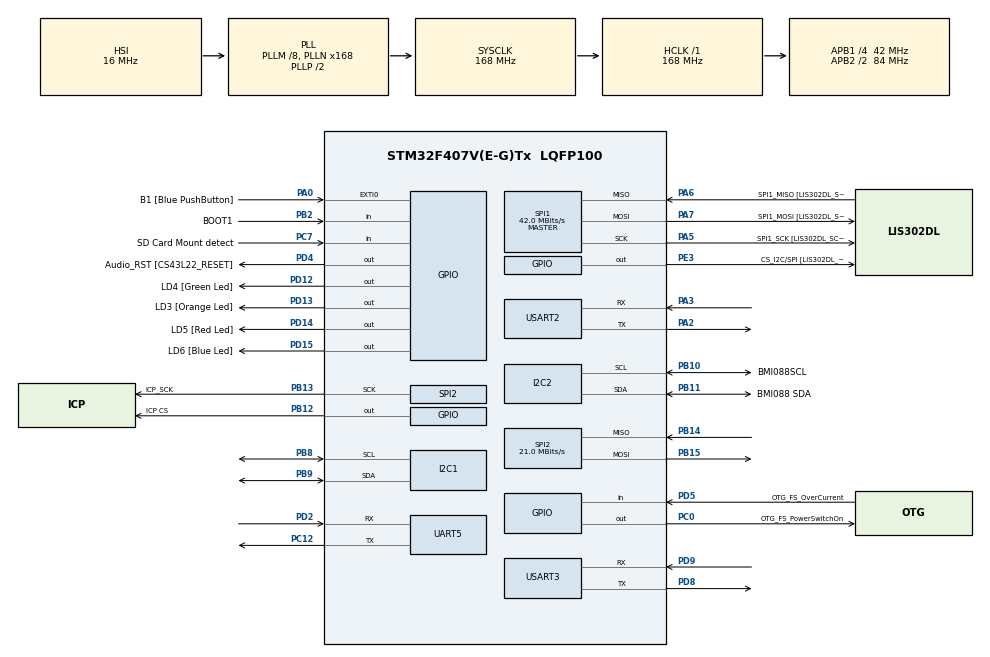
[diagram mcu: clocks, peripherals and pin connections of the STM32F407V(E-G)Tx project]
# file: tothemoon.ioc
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Dma.Request0=SPI2_RX
Dma.Request1=SPI2_TX
Dma.Request2=UART5_RX
Dma.Request3=UART5_TX
Dma.SPI2_RX.0.Direction=DMA_PERIPH_TO_MEMORY
Dma.SPI2_RX.0.FIFOMode=DMA_FIFOMODE_DISABLE
Dma.SPI2_RX.0.Instance=DMA1_Stream3
Dma.SPI2_RX.0.MemDataAlignment=DMA_MDATAALIGN_BYTE
Dma.SPI2_RX.0.MemInc=DMA_MINC_ENABLE
Dma.SPI2_RX.0.Mode=DMA_NORMAL
Dma.SPI2_RX.0.PeriphDataAlignment=DMA_PDATAALIGN_BYTE
Dma.SPI2_RX.0.PeriphInc=DMA_PINC_DISABLE
Dma.SPI2_RX.0.Priority=DMA_PRIORITY_LOW
Dma.SPI2_TX.1.Direction=DMA_MEMORY_TO_PERIPH
Dma.SPI2_TX.1.FIFOMode=DMA_FIFOMODE_DISABLE
Dma.SPI2_TX.1.Instance=DMA1_Stream4
Dma.SPI2_TX.1.MemDataAlignment=DMA_MDATAALIGN_BYTE
Dma.SPI2_TX.1.MemInc=DMA_MINC_ENABLE
Dma.SPI2_TX.1.Mode=DMA_NORMAL
Dma.SPI2_TX.1.PeriphDataAlignment=DMA_PDATAALIGN_BYTE
Dma.SPI2_TX.1.PeriphInc=DMA_PINC_DISABLE
Dma.SPI2_TX.1.Priority=DMA_PRIORITY_LOW
Dma.UART5_RX.2.Direction=DMA_PERIPH_TO_MEMORY
Dma.UART5_RX.2.FIFOMode=DMA_FIFOMODE_DISABLE
Dma.UART5_RX.2.Instance=DMA1_Stream0
Dma.UART5_RX.2.MemDataAlignment=DMA_MDATAALIGN_BYTE
Dma.UART5_RX.2.MemInc=DMA_MINC_ENABLE
Dma.UART5_RX.2.Mode=DMA_NORMAL
Dma.UART5_RX.2.PeriphDataAlignment=DMA_PDATAALIGN_BYTE
Dma.UART5_RX.2.PeriphInc=DMA_PINC_DISABLE
Dma.UART5_RX.2.Priority=DMA_PRIORITY_LOW
Dma.UART5_TX.3.Direction=DMA_MEMORY_TO_PERIPH
Dma.UART5_TX.3.FIFOMode=DMA_FIFOMODE_DISABLE
Dma.UART5_TX.3.Instance=DMA1_Stream7
Dma.UART5_TX.3.MemDataAlignment=DMA_MDATAALIGN_BYTE
Dma.UART5_TX.3.MemInc=DMA_MINC_ENABLE
Dma.UART5_TX.3.Mode=DMA_NORMAL
Dma.UART5_TX.3.PeriphDataAlignment=DMA_PDATAALIGN_BYTE
Dma.UART5_TX.3.PeriphInc=DMA_PINC_DISABLE
Dma.UART5_TX.3.Priority=DMA_PRIORITY_LOW
Mcu.Family=STM32F4
Mcu.Name=STM32F407V(E-G)Tx
Mcu.Package=LQFP100
NVIC.DMA1_Stream0_IRQn=true\:6\:0\:true\:false\:true\:false\:true\:true
NVIC.DMA1_Stream3_IRQn=true\:6\:0\:true\:false\:true\:false\:true\:true
NVIC.DMA1_Stream4_IRQn=true\:6\:0\:true\:false\:true\:false\:true\:true
NVIC.DMA1_Stream7_IRQn=true\:6\:0\:true\:false\:true\:false\:true\:true
NVIC.PriorityGroup=NVIC_PRIORITYGROUP_4
NVIC.TIM6_DAC_IRQn=true\:15\:0\:false\:false\:true\:false\:true\:true
NVIC.TimeBase=TIM6_DAC_IRQn
NVIC.TimeBaseIP=TIM6
NVIC.UART5_IRQn=true\:6\:0\:true\:false\:true\:true\:true\:true
PA0-WKUP.GPIO_Label=B1 [Blue PushButton]
PA0-WKUP.Signal=GPXTI0
PA10.GPIO_Label=OTG_FS_ID
PA10.GPIO_Mode=GPIO_MODE_AF_PP
PA10.GPIO_PuPd=GPIO_NOPULL
PA10.GPIO_Speed=GPIO_SPEED_FREQ_LOW
PA10.Signal=USB_OTG_FS_ID
PA11.GPIO_Label=OTG_FS_DM
PA11.GPIO_Mode=GPIO_MODE_AF_PP
PA11.GPIO_PuPd=GPIO_NOPULL
PA11.GPIO_Speed=GPIO_SPEED_FREQ_LOW
PA11.Signal=USB_OTG_FS_DM
PA12.GPIO_Label=OTG_FS_DP
PA12.GPIO_Mode=GPIO_MODE_AF_PP
PA12.GPIO_PuPd=GPIO_NOPULL
PA12.GPIO_Speed=GPIO_SPEED_FREQ_LOW
PA12.Signal=USB_OTG_FS_DP
PA13.GPIO_Label=SWDIO
PA13.Mode=Trace_Asynchronous_SW
PA13.Signal=SYS_JTMS-SWDIO
PA14.GPIO_Label=SWCLK
PA14.Mode=Trace_Asynchronous_SW
PA14.Signal=SYS_JTCK-SWCLK
PA2.Mode=Asynchronous
PA2.Signal=USART2_TX
PA3.Mode=Asynchronous
PA3.Signal=USART2_RX
PA4.GPIO_Label=I2S3_WS [CS43L22_LRCK]
PA4.GPIO_Mode=GPIO_MODE_AF_PP
PA4.GPIO_PuPd=GPIO_NOPULL
PA4.GPIO_Speed=GPIO_SPEED_FREQ_LOW
PA4.Signal=I2S3_WS
PA5.GPIO_Label=SPI1_SCK [LIS302DL_SCL/SPC]
PA5.GPIO_Mode=GPIO_MODE_AF_PP
PA5.GPIO_PuPd=GPIO_NOPULL
PA5.GPIO_Speed=GPIO_SPEED_FREQ_LOW
PA5.Mode=Full_Duplex_Master
PA5.Signal=SPI1_SCK
PA6.GPIO_Label=SPI1_MISO [LIS302DL_SDO]
PA6.GPIO_Mode=GPIO_MODE_AF_PP
PA6.GPIO_PuPd=GPIO_NOPULL
PA6.GPIO_Speed=GPIO_SPEED_FREQ_LOW
PA6.Mode=Full_Duplex_Master
PA6.Signal=SPI1_MISO
PA7.GPIO_Label=SPI1_MOSI [LIS302DL_SDA/SDI/SDO]
PA7.GPIO_Mode=GPIO_MODE_AF_PP
PA7.GPIO_PuPd=GPIO_NOPULL
PA7.GPIO_Speed=GPIO_SPEED_FREQ_LOW
PA7.Mode=Full_Duplex_Master
PA7.Signal=SPI1_MOSI
PA9.GPIO_Label=VBUS_FS
PA9.GPIO_Mode=GPIO_MODE_INPUT
PA9.GPIO_PuPd=GPIO_NOPULL
PA9.Signal=USB_OTG_FS_VBUS
PB10.GPIO_Label=BMI088SCL
PB10.Mode=I2C
PB10.Signal=I2C2_SCL
PB11.GPIO_Label=BMI088 SDA
PB11.Mode=I2C
PB11.Signal=I2C2_SDA
PB12.GPIO_Label=ICP CS
PB12.Signal=GPIO_Output
PB13.GPIO_Label=ICP_SCK
PB13.Mode=Full_Duplex_Master
PB13.Signal=SPI2_SCK
PB14.Mode=Full_Duplex_Master
PB14.Signal=SPI2_MISO
PB15.Mode=Full_Duplex_Master
PB15.Signal=SPI2_MOSI
PB2.GPIO_Label=BOOT1
PB2.GPIO_Mode=GPIO_MODE_INPUT
PB2.GPIO_PuPd=GPIO_NOPULL
PB2.Signal=GPIO_Input
PB3.GPIO_Label=SWO
PB3.Mode=Trace_Asynchronous_SW
PB3.Signal=SYS_JTDO-SWO
PB6.Signal=USART1_TX
PB7.GPIO_PuPd=GPIO_PULLUP
PB7.Signal=USART1_RX
PB8.Mode=I2C
PB8.Signal=I2C1_SCL
PB9.Mode=I2C
PB9.Signal=I2C1_SDA
PC0.GPIO_Label=OTG_FS_PowerSwitchOn
PC0.GPIO_PuPd=GPIO_NOPULL
PC0.GPIO_Speed=GPIO_SPEED_FREQ_LOW
PC0.PinState=GPIO_PIN_SET
PC0.Signal=GPIO_Output
PC12.Mode=Asynchronous
PC12.Signal=UART5_TX
PC14-OSC32_IN.GPIO_Label=PC14-OSC32_IN
PC14-OSC32_IN.Signal=RCC_OSC32_IN
PC15-OSC32_OUT.GPIO_Label=PC15-OSC32_OUT
PC15-OSC32_OUT.Signal=RCC_OSC32_OUT
PC3.GPIO_Label=PDM_OUT [MP45DT02_DOUT]
PC3.GPIO_Mode=GPIO_MODE_AF_PP
PC3.GPIO_PuPd=GPIO_NOPULL
PC3.GPIO_Speed=GPIO_SPEED_FREQ_LOW
PC3.Signal=I2S2_SD
PC7.GPIO_Label=SD Card Mount detect
PC7.Signal=GPIO_Input
PD12.GPIO_Label=LD4 [Green Led]
PD12.GPIO_PuPd=GPIO_NOPULL
PD12.GPIO_Speed=GPIO_SPEED_FREQ_LOW
PD12.Signal=GPIO_Output
PD13.GPIO_Label=LD3 [Orange Led]
PD13.GPIO_PuPd=GPIO_NOPULL
PD13.GPIO_Speed=GPIO_SPEED_FREQ_LOW
PD13.Signal=GPIO_Output
PD14.GPIO_Label=LD5 [Red Led]
PD14.GPIO_PuPd=GPIO_NOPULL
PD14.GPIO_Speed=GPIO_SPEED_FREQ_LOW
PD14.Signal=GPIO_Output
PD15.GPIO_Label=LD6 [Blue Led]
PD15.GPIO_PuPd=GPIO_NOPULL
PD15.GPIO_Speed=GPIO_SPEED_FREQ_LOW
PD15.Signal=GPIO_Output
PD2.GPIO_ModeDefaultPP=GPIO_MODE_AF_PP
PD2.GPIO_PuPd=GPIO_NOPULL
PD2.GPIO_Speed=GPIO_SPEED_FREQ_VERY_HIGH
PD2.Mode=Asynchronous
PD2.Signal=UART5_RX
PD4.GPIO_Label=Audio_RST [CS43L22_RESET]
PD4.GPIO_PuPd=GPIO_NOPULL
PD4.GPIO_Speed=GPIO_SPEED_FREQ_LOW
PD4.Signal=GPIO_Output
PD5.GPIO_Label=OTG_FS_OverCurrent
PD5.GPIO_Mode=GPIO_MODE_INPUT
PD5.GPIO_PuPd=GPIO_NOPULL
PD5.Signal=GPIO_Input
PD8.Mode=Asynchronous
PD8.Signal=USART3_TX
PD9.Mode=Asynchronous
PD9.Signal=USART3_RX
PE3.GPIO_Label=CS_I2C/SPI [LIS302DL_CS_I2C/SPI]
PE3.GPIO_PuPd=GPIO_NOPULL
PE3.GPIO_Speed=GPIO_SPEED_FREQ_LOW
PE3.Signal=GPIO_Output
PH0-OSC_IN.GPIO_Label=PH0-OSC_IN
PH0-OSC_IN.Signal=RCC_OSC_IN
PH1-OSC_OUT.GPIO_Label=PH1-OSC_OUT
PH1-OSC_OUT.Signal=RCC_OSC_OUT
ProjectManager.HeapSize=0x200
ProjectManager.StackSize=0x400
ProjectManager.TargetToolchain=STM32CubeIDE
RCC.48MHZClocksFreq_Value=48000000
RCC.AHBFreq_Value=168000000
RCC.APB1CLKDivider=RCC_HCLK_DIV4
RCC.APB1Freq_Value=42000000
RCC.APB1TimFreq_Value=84000000
RCC.APB2CLKDivider=RCC_HCLK_DIV2
RCC.APB2Freq_Value=84000000
RCC.APB2TimFreq_Value=168000000
RCC.CortexFreq_Value=168000000
RCC.HCLKFreq_Value=168000000
RCC.HSE_VALUE=8000000
RCC.HSI_VALUE=16000000
RCC.LSE_VALUE=32768
RCC.PLLM=8
RCC.PLLN=168
RCC.PLLQ=7
RCC.SYSCLKFreq_VALUE=168000000
RCC.SYSCLKSource=RCC_SYSCLKSOURCE_PLLCLK
RCC.VCOOutputFreq_Value=336000000
SPI1.CalculateBaudRate=42.0 MBits/s
SPI1.Direction=SPI_DIRECTION_2LINES
SPI1.Mode=SPI_MODE_MASTER
SPI1.VirtualType=VM_MASTER
SPI2.CalculateBaudRate=21.0 MBits/s
SPI2.Direction=SPI_DIRECTION_2LINES
SPI2.Mode=SPI_MODE_MASTER
SPI2.VirtualType=VM_MASTER
UART5.VirtualMode=Asynchronous
USART2.VirtualMode=VM_ASYNC
USART3.VirtualMode=VM_ASYNC
VP_SYS_VS_tim6.Mode=TIM6
board=STM32F407G-DISC1

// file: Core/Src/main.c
/* USER CODE BEGIN Header */
/**
  ******************************************************************************
  * @file           : main.c
  * @brief          : Main program body
  ******************************************************************************
  * @attention
  *
  * <h2><center>&copy; Copyright (c) 2021 STMicroelectronics.
  * All rights reserved.</center></h2>
  *
  * This software component is licensed by ST under BSD 3-Clause license,
  * the "License"; You may not use this file except in compliance with the
  * License. You may obtain a copy of the License at:
  *                        opensource.org/licenses/BSD-3-Clause
  *
  ******************************************************************************
  */
/* USER CODE END Header */
#include "main.h"

/* USER CODE BEGIN Includes */
#include <stdio.h>
#include "tasks.h"
/* USER CODE END Includes */

/* USER CODE BEGIN PM */
extern void SEGGER_SYSVIEW_Print(const char* s);
/* USER CODE END PM */

I2C_HandleTypeDef hi2c1;
I2C_HandleTypeDef hi2c2;

SPI_HandleTypeDef hspi1;
SPI_HandleTypeDef hspi2;
DMA_HandleTypeDef hdma_spi2_rx;
DMA_HandleTypeDef hdma_spi2_tx;

UART_HandleTypeDef huart5;
UART_HandleTypeDef huart2;
UART_HandleTypeDef huart3;
DMA_HandleTypeDef hdma_uart5_rx;
DMA_HandleTypeDef hdma_uart5_tx;

/* USER CODE BEGIN PV */

extern void BME_DMA_Rx_CallBack();
extern void BME_DMA_Tx_CallBack();
extern void BME_DMA_ErrorCallBack();

extern void SITSUT_DMA_Rx_CallBack();
extern void SITSUT_DMA_Tx_CallBack();
extern void SITSUT_DMA_ErrorCallBack();

extern BME_Init_Typedef_t BME_Device;

/* USER CODE END PV */

void SystemClock_Config(void);
static void MX_GPIO_Init(void);
static void MX_DMA_Init(void);
static void MX_I2C1_Init(void);
static void MX_I2C2_Init(void);
static void MX_SPI1_Init(void);
static void MX_SPI2_Init(void);
static void MX_USART2_UART_Init(void);
static void MX_USART3_UART_Init(void);
static void MX_UART5_Init(void);

int main(void)
{

  /* MCU Configuration--------------------------------------------------------*/

  /* Reset of all peripherals, Initializes the Flash interface and the Systick. */
  HAL_Init();

  /* Configure the system clock */
  SystemClock_Config();

  /* Initialize all configured peripherals */
  MX_GPIO_Init();
  MX_DMA_Init();
  MX_I2C1_Init();
  MX_I2C2_Init();
  MX_SPI1_Init();
  MX_SPI2_Init();
  MX_USART2_UART_Init();
  MX_USART3_UART_Init();
  MX_UART5_Init();
  HAL_NVIC_EnableIRQ(UART5_IRQn);
  /* USER CODE BEGIN 2 */

  //Enable the CYCCNT counter.

 // SEGGER_SYSVIEW_Start();

  //if the control comes here, then the launch of the scheduler has failed due to
  //insufficient memory in heap

  TasksInitScheduler();
  /* USER CODE END 2 */

  /* Infinite loop */
  while (1)
  {

  }
}

void SystemClock_Config(void)
{
  RCC_OscInitTypeDef RCC_OscInitStruct = {0};
  RCC_ClkInitTypeDef RCC_ClkInitStruct = {0};

  /** Configure the main internal regulator output voltage
  */
  __HAL_RCC_PWR_CLK_ENABLE();
  __HAL_PWR_VOLTAGESCALING_CONFIG(PWR_REGULATOR_VOLTAGE_SCALE1);

  /** Initializes the RCC Oscillators according to the specified parameters
  * in the RCC_OscInitTypeDef structure.
  */
  RCC_OscInitStruct.OscillatorType = RCC_OSCILLATORTYPE_HSI;
  RCC_OscInitStruct.HSIState = RCC_HSI_ON;
  RCC_OscInitStruct.HSICalibrationValue = RCC_HSICALIBRATION_DEFAULT;
  RCC_OscInitStruct.PLL.PLLState = RCC_PLL_ON;
  RCC_OscInitStruct.PLL.PLLSource = RCC_PLLSOURCE_HSI;
  RCC_OscInitStruct.PLL.PLLM = 8;
  RCC_OscInitStruct.PLL.PLLN = 168;
  RCC_OscInitStruct.PLL.PLLP = RCC_PLLP_DIV2;
  RCC_OscInitStruct.PLL.PLLQ = 7;
  if (HAL_RCC_OscConfig(&RCC_OscInitStruct) != HAL_OK)
  {
    Error_Handler();
  }

  /** Initializes the CPU, AHB and APB buses clocks
  */
  RCC_ClkInitStruct.ClockType = RCC_CLOCKTYPE_HCLK|RCC_CLOCKTYPE_SYSCLK
                              |RCC_CLOCKTYPE_PCLK1|RCC_CLOCKTYPE_PCLK2;
  RCC_ClkInitStruct.SYSCLKSource = RCC_SYSCLKSOURCE_PLLCLK;
  RCC_ClkInitStruct.AHBCLKDivider = RCC_SYSCLK_DIV1;
  RCC_ClkInitStruct.APB1CLKDivider = RCC_HCLK_DIV4;
  RCC_ClkInitStruct.APB2CLKDivider = RCC_HCLK_DIV2;

  if (HAL_RCC_ClockConfig(&RCC_ClkInitStruct, FLASH_LATENCY_5) != HAL_OK)
  {
    Error_Handler();
  }
}

static void MX_I2C1_Init(void)
{

  hi2c1.Instance = I2C1;
  hi2c1.Init.ClockSpeed = 100000;
  hi2c1.Init.DutyCycle = I2C_DUTYCYCLE_2;
  hi2c1.Init.OwnAddress1 = 0;
  hi2c1.Init.AddressingMode = I2C_ADDRESSINGMODE_7BIT;
  hi2c1.Init.DualAddressMode = I2C_DUALADDRESS_DISABLE;
  hi2c1.Init.OwnAddress2 = 0;
  hi2c1.Init.GeneralCallMode = I2C_GENERALCALL_DISABLE;
  hi2c1.Init.NoStretchMode = I2C_NOSTRETCH_DISABLE;
  if (HAL_I2C_Init(&hi2c1) != HAL_OK)
  {
    Error_Handler();
  }

}

static void MX_I2C2_Init(void)
{

  hi2c2.Instance = I2C2;
  hi2c2.Init.ClockSpeed = 100000;
  hi2c2.Init.DutyCycle = I2C_DUTYCYCLE_2;
  hi2c2.Init.OwnAddress1 = 0;
  hi2c2.Init.AddressingMode = I2C_ADDRESSINGMODE_7BIT;
  hi2c2.Init.DualAddressMode = I2C_DUALADDRESS_DISABLE;
  hi2c2.Init.OwnAddress2 = 0;
  hi2c2.Init.GeneralCallMode = I2C_GENERALCALL_DISABLE;
  hi2c2.Init.NoStretchMode = I2C_NOSTRETCH_DISABLE;
  if (HAL_I2C_Init(&hi2c2) != HAL_OK)
  {
    Error_Handler();
  }

}

static void MX_SPI1_Init(void)
{

  /* SPI1 parameter configuration*/
  hspi1.Instance = SPI1;
  hspi1.Init.Mode = SPI_MODE_MASTER;
  hspi1.Init.Direction = SPI_DIRECTION_2LINES;
  hspi1.Init.DataSize = SPI_DATASIZE_8BIT;
  hspi1.Init.CLKPolarity = SPI_POLARITY_LOW;
  hspi1.Init.CLKPhase = SPI_PHASE_1EDGE;
  hspi1.Init.NSS = SPI_NSS_SOFT;
  hspi1.Init.BaudRatePrescaler = SPI_BAUDRATEPRESCALER_2;
  hspi1.Init.FirstBit = SPI_FIRSTBIT_MSB;
  hspi1.Init.TIMode = SPI_TIMODE_DISABLE;
  hspi1.Init.CRCCalculation = SPI_CRCCALCULATION_DISABLE;
  hspi1.Init.CRCPolynomial = 10;
  if (HAL_SPI_Init(&hspi1) != HAL_OK)
  {
    Error_Handler();
  }

}

static void MX_SPI2_Init(void)
{

  /* SPI2 parameter configuration*/
  hspi2.Instance = SPI2;
  hspi2.Init.Mode = SPI_MODE_MASTER;
  hspi2.Init.Direction = SPI_DIRECTION_2LINES;
  hspi2.Init.DataSize = SPI_DATASIZE_8BIT;
  hspi2.Init.CLKPolarity = SPI_POLARITY_LOW;
  hspi2.Init.CLKPhase = SPI_PHASE_1EDGE;
  hspi2.Init.NSS = SPI_NSS_SOFT;
  hspi2.Init.BaudRatePrescaler = SPI_BAUDRATEPRESCALER_2;
  hspi2.Init.FirstBit = SPI_FIRSTBIT_MSB;
  hspi2.Init.TIMode = SPI_TIMODE_DISABLE;
  hspi2.Init.CRCCalculation = SPI_CRCCALCULATION_DISABLE;
  hspi2.Init.CRCPolynomial = 10;
  if (HAL_SPI_Init(&hspi2) != HAL_OK)
  {
    Error_Handler();
  }

}

static void MX_UART5_Init(void)
{

  huart5.Instance = UART5;
  huart5.Init.BaudRate = 115200;
  huart5.Init.WordLength = UART_WORDLENGTH_8B;
  huart5.Init.StopBits = UART_STOPBITS_1;
  huart5.Init.Parity = UART_PARITY_NONE;
  huart5.Init.Mode = UART_MODE_TX_RX;
  huart5.Init.HwFlowCtl = UART_HWCONTROL_NONE;
  huart5.Init.OverSampling = UART_OVERSAMPLING_16;
  if (HAL_UART_Init(&huart5) != HAL_OK)
  {
    Error_Handler();
  }

}

static void MX_USART2_UART_Init(void)
{

  huart2.Instance = USART2;
  huart2.Init.BaudRate = 115200;
  huart2.Init.WordLength = UART_WORDLENGTH_8B;
  huart2.Init.StopBits = UART_STOPBITS_1;
  huart2.Init.Parity = UART_PARITY_NONE;
  huart2.Init.Mode = UART_MODE_TX_RX;
  huart2.Init.HwFlowCtl = UART_HWCONTROL_NONE;
  huart2.Init.OverSampling = UART_OVERSAMPLING_16;
  if (HAL_UART_Init(&huart2) != HAL_OK)
  {
    Error_Handler();
  }

}

static void MX_USART3_UART_Init(void)
{

  huart3.Instance = USART3;
  huart3.Init.BaudRate = 115200;
  huart3.Init.WordLength = UART_WORDLENGTH_8B;
  huart3.Init.StopBits = UART_STOPBITS_1;
  huart3.Init.Parity = UART_PARITY_NONE;
  huart3.Init.Mode = UART_MODE_TX_RX;
  huart3.Init.HwFlowCtl = UART_HWCONTROL_NONE;
  huart3.Init.OverSampling = UART_OVERSAMPLING_16;
  if (HAL_UART_Init(&huart3) != HAL_OK)
  {
    Error_Handler();
  }

}

static void MX_DMA_Init(void)
{

  /* DMA controller clock enable */
  __HAL_RCC_DMA1_CLK_ENABLE();

  /* DMA interrupt init */
  /* DMA1_Stream0_IRQn interrupt configuration */
  HAL_NVIC_SetPriority(DMA1_Stream0_IRQn, 6, 0);
  HAL_NVIC_EnableIRQ(DMA1_Stream0_IRQn);
  /* DMA1_Stream3_IRQn interrupt configuration */
  HAL_NVIC_SetPriority(DMA1_Stream3_IRQn, 6, 0);
  HAL_NVIC_EnableIRQ(DMA1_Stream3_IRQn);
  /* DMA1_Stream4_IRQn interrupt configuration */
  HAL_NVIC_SetPriority(DMA1_Stream4_IRQn, 6, 0);
  HAL_NVIC_EnableIRQ(DMA1_Stream4_IRQn);
  /* DMA1_Stream7_IRQn interrupt configuration */
  HAL_NVIC_SetPriority(DMA1_Stream7_IRQn, 6, 0);
  HAL_NVIC_EnableIRQ(DMA1_Stream7_IRQn);

}

static void MX_GPIO_Init(void)
{
  GPIO_InitTypeDef GPIO_InitStruct = {0};

  /* GPIO Ports Clock Enable */
  __HAL_RCC_GPIOE_CLK_ENABLE();
  __HAL_RCC_GPIOC_CLK_ENABLE();
  __HAL_RCC_GPIOH_CLK_ENABLE();
  __HAL_RCC_GPIOA_CLK_ENABLE();
  __HAL_RCC_GPIOB_CLK_ENABLE();
  __HAL_RCC_GPIOD_CLK_ENABLE();

  /*Configure GPIO pin Output Level */
  HAL_GPIO_WritePin(CS_I2C_SPI_GPIO_Port, CS_I2C_SPI_Pin, GPIO_PIN_RESET);

  /*Configure GPIO pin Output Level */
  HAL_GPIO_WritePin(OTG_FS_PowerSwitchOn_GPIO_Port, OTG_FS_PowerSwitchOn_Pin, GPIO_PIN_SET);

  /*Configure GPIO pin Output Level */
  HAL_GPIO_WritePin(ICP_CS_GPIO_Port, ICP_CS_Pin, GPIO_PIN_RESET);

  /*Configure GPIO pin Output Level */
  HAL_GPIO_WritePin(GPIOD, LD4_Pin|LD3_Pin|LD5_Pin|LD6_Pin
                          |Audio_RST_Pin, GPIO_PIN_RESET);

  /*Configure GPIO pin : CS_I2C_SPI_Pin */
  GPIO_InitStruct.Pin = CS_I2C_SPI_Pin;
  GPIO_InitStruct.Mode = GPIO_MODE_OUTPUT_PP;
  GPIO_InitStruct.Pull = GPIO_NOPULL;
  GPIO_InitStruct.Speed = GPIO_SPEED_FREQ_LOW;
  HAL_GPIO_Init(CS_I2C_SPI_GPIO_Port, &GPIO_InitStruct);

  /*Configure GPIO pin : OTG_FS_PowerSwitchOn_Pin */
  GPIO_InitStruct.Pin = OTG_FS_PowerSwitchOn_Pin;
  GPIO_InitStruct.Mode = GPIO_MODE_OUTPUT_PP;
  GPIO_InitStruct.Pull = GPIO_NOPULL;
  GPIO_InitStruct.Speed = GPIO_SPEED_FREQ_LOW;
  HAL_GPIO_Init(OTG_FS_PowerSwitchOn_GPIO_Port, &GPIO_InitStruct);

  /*Configure GPIO pin : PDM_OUT_Pin */
  GPIO_InitStruct.Pin = PDM_OUT_Pin;
  GPIO_InitStruct.Mode = GPIO_MODE_AF_PP;
  GPIO_InitStruct.Pull = GPIO_NOPULL;
  GPIO_InitStruct.Speed = GPIO_SPEED_FREQ_LOW;
  GPIO_InitStruct.Alternate = GPIO_AF5_SPI2;
  HAL_GPIO_Init(PDM_OUT_GPIO_Port, &GPIO_InitStruct);

  /*Configure GPIO pin : B1_Pin */
  GPIO_InitStruct.Pin = B1_Pin;
  GPIO_InitStruct.Mode = GPIO_MODE_IT_RISING;
  GPIO_InitStruct.Pull = GPIO_NOPULL;
  HAL_GPIO_Init(B1_GPIO_Port, &GPIO_InitStruct);

  /*Configure GPIO pin : I2S3_WS_Pin */
  GPIO_InitStruct.Pin = I2S3_WS_Pin;
  GPIO_InitStruct.Mode = GPIO_MODE_AF_PP;
  GPIO_InitStruct.Pull = GPIO_NOPULL;
  GPIO_InitStruct.Speed = GPIO_SPEED_FREQ_LOW;
  GPIO_InitStruct.Alternate = GPIO_AF6_SPI3;
  HAL_GPIO_Init(I2S3_WS_GPIO_Port, &GPIO_InitStruct);

  /*Configure GPIO pin : BOOT1_Pin */
  GPIO_InitStruct.Pin = BOOT1_Pin;
  GPIO_InitStruct.Mode = GPIO_MODE_INPUT;
  GPIO_InitStruct.Pull = GPIO_NOPULL;
  HAL_GPIO_Init(BOOT1_GPIO_Port, &GPIO_InitStruct);

  /*Configure GPIO pin : ICP_CS_Pin */
  GPIO_InitStruct.Pin = ICP_CS_Pin;
  GPIO_InitStruct.Mode = GPIO_MODE_OUTPUT_PP;
  GPIO_InitStruct.Pull = GPIO_NOPULL;
  GPIO_InitStruct.Speed = GPIO_SPEED_FREQ_LOW;
  HAL_GPIO_Init(ICP_CS_GPIO_Port, &GPIO_InitStruct);

  /*Configure GPIO pins : LD4_Pin LD3_Pin LD5_Pin LD6_Pin
                           Audio_RST_Pin */
  GPIO_InitStruct.Pin = LD4_Pin|LD3_Pin|LD5_Pin|LD6_Pin
                          |Audio_RST_Pin;
  GPIO_InitStruct.Mode = GPIO_MODE_OUTPUT_PP;
  GPIO_InitStruct.Pull = GPIO_NOPULL;
  GPIO_InitStruct.Speed = GPIO_SPEED_FREQ_LOW;
  HAL_GPIO_Init(GPIOD, &GPIO_InitStruct);

  /*Configure GPIO pin : SD_Card_Mount_detect_Pin */
  GPIO_InitStruct.Pin = SD_Card_Mount_detect_Pin;
  GPIO_InitStruct.Mode = GPIO_MODE_INPUT;
  GPIO_InitStruct.Pull = GPIO_NOPULL;
  HAL_GPIO_Init(SD_Card_Mount_detect_GPIO_Port, &GPIO_InitStruct);

  /*Configure GPIO pin : VBUS_FS_Pin */
  GPIO_InitStruct.Pin = VBUS_FS_Pin;
  GPIO_InitStruct.Mode = GPIO_MODE_INPUT;
  GPIO_InitStruct.Pull = GPIO_NOPULL;
  HAL_GPIO_Init(VBUS_FS_GPIO_Port, &GPIO_InitStruct);

  /*Configure GPIO pins : OTG_FS_ID_Pin OTG_FS_DM_Pin OTG_FS_DP_Pin */
  GPIO_InitStruct.Pin = OTG_FS_ID_Pin|OTG_FS_DM_Pin|OTG_FS_DP_Pin;
  GPIO_InitStruct.Mode = GPIO_MODE_AF_PP;
  GPIO_InitStruct.Pull = GPIO_NOPULL;
  GPIO_InitStruct.Speed = GPIO_SPEED_FREQ_LOW;
  GPIO_InitStruct.Alternate = GPIO_AF10_OTG_FS;
  HAL_GPIO_Init(GPIOA, &GPIO_InitStruct);

  /*Configure GPIO pin : OTG_FS_OverCurrent_Pin */
  GPIO_InitStruct.Pin = OTG_FS_OverCurrent_Pin;
  GPIO_InitStruct.Mode = GPIO_MODE_INPUT;
  GPIO_InitStruct.Pull = GPIO_NOPULL;
  HAL_GPIO_Init(OTG_FS_OverCurrent_GPIO_Port, &GPIO_InitStruct);

  /*Configure GPIO pin : PB6 */
  GPIO_InitStruct.Pin = GPIO_PIN_6;
  GPIO_InitStruct.Mode = GPIO_MODE_AF_PP;
  GPIO_InitStruct.Pull = GPIO_NOPULL;
  GPIO_InitStruct.Speed = GPIO_SPEED_FREQ_VERY_HIGH;
  GPIO_InitStruct.Alternate = GPIO_AF7_USART1;
  HAL_GPIO_Init(GPIOB, &GPIO_InitStruct);

  /*Configure GPIO pin : PB7 */
  GPIO_InitStruct.Pin = GPIO_PIN_7;
  GPIO_InitStruct.Mode = GPIO_MODE_AF_PP;
  GPIO_InitStruct.Pull = GPIO_PULLUP;
  GPIO_InitStruct.Speed = GPIO_SPEED_FREQ_VERY_HIGH;
  GPIO_InitStruct.Alternate = GPIO_AF7_USART1;
  HAL_GPIO_Init(GPIOB, &GPIO_InitStruct);

}

/* USER CODE BEGIN 4 */

void HAL_SPI_TxCpltCallback(SPI_HandleTypeDef *hspi) {
    if(hspi->Instance == BME_Device.spihandler->Instance)
    {
      BME_DMA_Tx_CallBack();
    }
}

void HAL_SPI_RxCpltCallback(SPI_HandleTypeDef *hspi) {
    if(hspi->Instance == BME_Device.spihandler->Instance) {
      BME_DMA_Rx_CallBack();

    }
}

void HAL_SPI_ErrorCallback(SPI_HandleTypeDef *hspi) {
    if(hspi->Instance == BME_Device.spihandler->Instance) {
        // 1. Hatayı logla (SD karta veya RTT'ye bas)
        // SEGGER_RTT_printf(0, "SPI Error Code: %d\n", hspi->ErrorCode);

        BME_DMA_ErrorCallBack();
        __HAL_SPI_CLEAR_OVRFLAG(hspi);
    }
}

void HAL_UART_TxCpltCallback(UART_HandleTypeDef *huart)
{
    if(huart == SITSUT_UART)
    {
       SITSUT_DMA_Tx_CallBack();
    }
}

void HAL_UARTEx_RxEventCallback(UART_HandleTypeDef *huart, uint16_t Size)
{
    if(huart == SITSUT_UART)
    {
        SEGGER_SYSVIEW_Print("Triggered");
        SITSUT_DMA_Rx_CallBack();
    }
}

void HAL_UART_RxCpltCallback(UART_HandleTypeDef *huart)
{
  if(huart == SITSUT_UART)
      {
        SEGGER_SYSVIEW_Print("Triggered");
         SITSUT_DMA_Rx_CallBack();
      }
}

void HAL_UART_ErrorCallback(UART_HandleTypeDef *huart)
{
  if(huart == SITSUT_UART)
      {
    uint32_t temp = huart->Instance->SR;
            temp = huart->Instance->DR;
            UNUSED(temp); // Derleyici "kullanılmayan değişken" uyarısı vermesin diye

            // Alternatif olarak HAL makrosu kullanmak istersen:
            __HAL_UART_CLEAR_FEFLAG(huart);
            __HAL_UART_CLEAR_NEFLAG(huart);
            __HAL_UART_CLEAR_OREFLAG(huart);

            // Dinlemeyi tekrar başlat (Scope problemini aşağıda çözüyoruz)
        SITSUT_DMA_ErrorCallBack();
      }
}

/* USER CODE END 4 */

void HAL_TIM_PeriodElapsedCallback(TIM_HandleTypeDef *htim)
{
  if (htim->Instance == TIM6)
  {
    HAL_IncTick();
  }
}

void Error_Handler(void)
{
}
